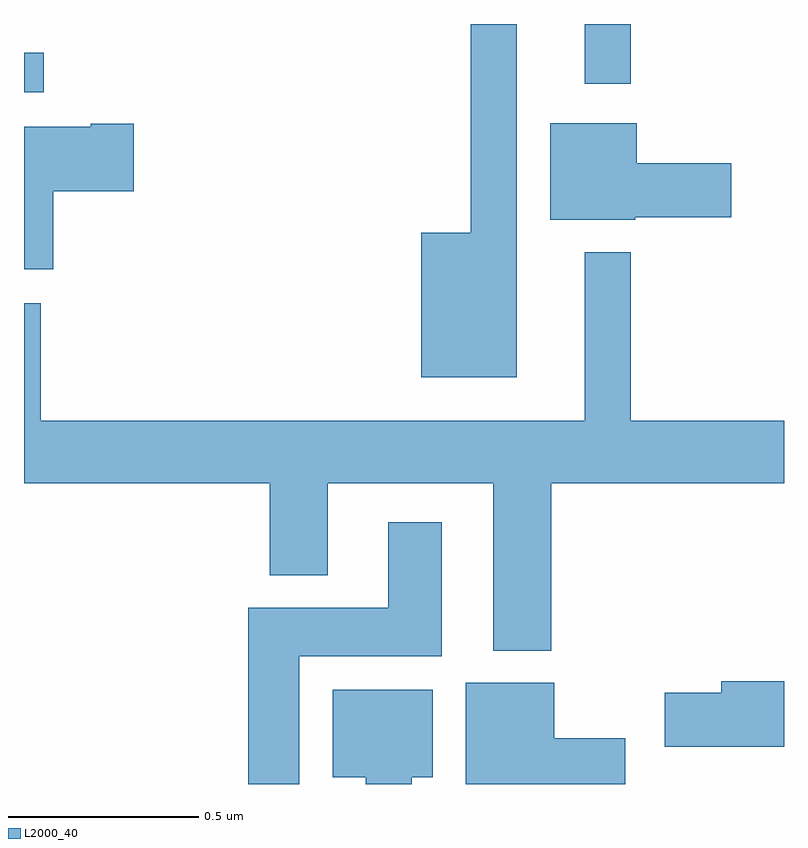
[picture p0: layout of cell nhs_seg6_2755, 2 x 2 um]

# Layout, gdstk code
import gdstk
lib = gdstk.Library(unit=1e-6, precision=1e-09)
def R(c, l, rs):  # rectangles x0, y0, x1, y1
    for r in rs: c.add(gdstk.rectangle(r[:2], r[2:], *l))
def P(c, l, *ps):  # polygons
    for p in ps: c.add(gdstk.Polygon(p, *l))
L2000_40 = (2000, 40)

nhs_seg6_2755 = lib.new_cell('nhs_seg6_2755')
R(nhs_seg6_2755, L2000_40, [(147,992.321,147.052,992.425), (148.475,992.343,148.597,992.5)])
P(nhs_seg6_2755, L2000_40, [(148.297,992.5),(148.176,992.5),(148.176,991.951),(148.046,991.951),(148.046,991.571),(148.297,991.571)],
  [(148.608,991.991),(148.861,991.991),(148.861,992.133),(148.612,992.133),(148.612,992.239),(148.385,992.239),(148.385,991.985),(148.608,991.985)],
  [(147.077,992.06),(147.289,992.06),(147.289,992.238),(147.176,992.238),(147.176,992.23),(147,992.23),(147,991.854),(147.077,991.854)],
  [(148.388,991.292),(149,991.292),(149,991.456),(148.597,991.456),(148.597,991.9),(148.475,991.9),(148.475,991.456),(147.044,991.456),(147.044,991.765),(147,991.765),(147,991.292),(147.647,991.292),(147.647,991.049),(147.799,991.049),(147.799,991.292),(148.235,991.292),(148.235,990.851),(148.388,990.851)],
  [(147.724,990.836),(148.099,990.836),(148.099,991.189),(147.959,991.189),(147.959,990.964),(147.59,990.964),(147.59,990.5),(147.724,990.5)],
  [(149,990.77),(148.835,990.77),(148.835,990.74),(148.686,990.74),(148.686,990.598),(149,990.598)],
  [(148.582,990.62),(148.396,990.62),(148.396,990.766),(148.163,990.766),(148.163,990.5),(148.582,990.5)],
  [(148.021,990.518),(148.075,990.518),(148.075,990.748),(147.812,990.748),(147.812,990.518),(147.899,990.518),(147.899,990.5),(148.021,990.5)])

lib.write_gds('nhs_seg6_2755.gds')
